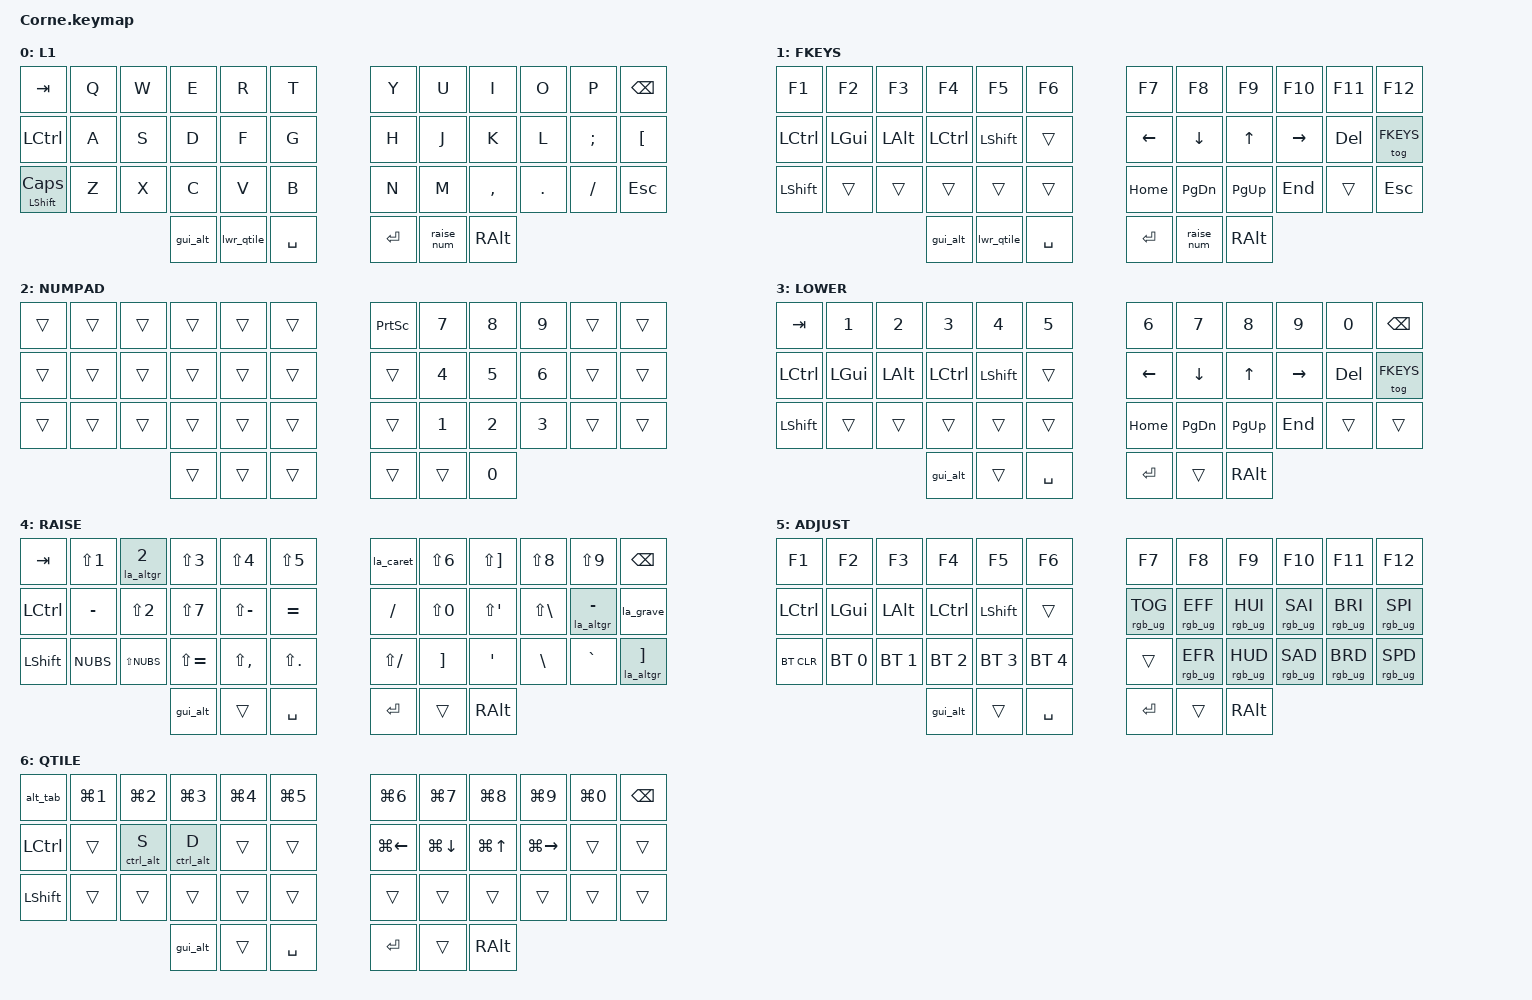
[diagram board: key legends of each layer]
/*
 * Copyright (c) 2020 The ZMK Contributors
 *
 * SPDX-License-Identifier: MIT
 */

#include <behaviors.dtsi>
#include <dt-bindings/zmk/keys.h>
#include <dt-bindings/zmk/bt.h>
#include <dt-bindings/zmk/rgb.h>

// Layer indices. Higher index wins when several layers are active.
#define L1     0
#define FKEYS  1
#define NUMPAD 2
#define LOWER  3
#define RAISE  4
#define ADJUST 5
#define QTILE  6

/ {
        conditional_layers {
                compatible = "zmk,conditional-layers";
                tri_layer {
                        if-layers = <LOWER RAISE>;
                        then-layer = <ADJUST>;
                };
        };

        behaviors {
                // Hold: Shift. Tap alone: Caps Lock.
                shift_caps: shift_caps {
                        compatible = "zmk,behavior-hold-tap";
                        #binding-cells = <2>;
                        flavor = "hold-preferred";
                        tapping-term-ms = <200>;
                        bindings = <&kp>, <&kp>;
                };
                // Left thumb LWR: hold = LOWER layer, tap then hold = QTILE layer.
                lwr_qtile: lwr_qtile {
                        compatible = "zmk,behavior-tap-dance";
                        #binding-cells = <0>;
                        tapping-term-ms = <200>;
                        bindings = <&mo LOWER>, <&mo QTILE>;
                };
                // Tap-dance on left thumb GUI: 1x hold/tap = LGUI, 2x hold/tap = LALT.
                gui_alt: gui_alt {
                        compatible = "zmk,behavior-tap-dance";
                        #binding-cells = <0>;
                        tapping-term-ms = <350>;
                        bindings = <&kp LGUI>, <&kp LALT>;
                };
                // Right thumb RSE: hold = RAISE layer, 2x tap = toggle NUMPAD layer.
                raise_num: raise_num {
                        compatible = "zmk,behavior-tap-dance";
                        #binding-cells = <0>;
                        tapping-term-ms = <200>;
                        bindings = <&mo RAISE>, <&tog NUMPAD>;
                };
        };

        // Latam has no plain ^ or ` key, only dead keys: tap them followed by space.
        macros {
                la_caret: la_caret {
                        compatible = "zmk,behavior-macro";
                        #binding-cells = <0>;
                        wait-ms = <20>;
                        tap-ms = <20>;
                        bindings
                                = <&macro_press &kp RALT>
                                , <&macro_tap &kp SQT>
                                , <&macro_release &kp RALT>
                                , <&macro_tap &kp SPACE>
                                ;
                };
                la_grave: la_grave {
                        compatible = "zmk,behavior-macro";
                        #binding-cells = <0>;
                        wait-ms = <20>;
                        tap-ms = <20>;
                        bindings
                                = <&macro_press &kp RALT>
                                , <&macro_tap &kp BSLH>
                                , <&macro_release &kp RALT>
                                , <&macro_tap &kp SPACE>
                                ;
                };
                // Holds RALT (AltGr) first, taps the key, then releases RALT so latam AltGr symbols (@, \, ~) never drop the modifier.
                la_altgr: la_altgr {
                        compatible = "zmk,behavior-macro-one-param";
                        #binding-cells = <1>;
                        wait-ms = <20>;
                        tap-ms = <20>;
                        bindings
                                = <&macro_press &kp RALT>
                                , <&macro_param_1to1>
                                , <&macro_tap &kp MACRO_PLACEHOLDER>
                                , <&macro_release &kp RALT>
                                ;
                };
                alt_tab: alt_tab {
                        compatible = "zmk,behavior-macro";
                        #binding-cells = <0>;
                        wait-ms = <0>;
                        tap-ms = <30>;
                        bindings
                                = <&macro_press &kp LALT>
                                , <&macro_tap &kp TAB>
                                , <&macro_pause_for_release>
                                , <&macro_release &kp LALT>
                                ;
                };
                // Holds LCTRL + LALT first, taps the given key, then releases LCTRL + LALT so VS Code / X11 always register both modifiers.
                ctrl_alt: ctrl_alt {
                        compatible = "zmk,behavior-macro-one-param";
                        #binding-cells = <1>;
                        wait-ms = <30>;
                        tap-ms = <30>;
                        bindings
                                = <&macro_press &kp LCTRL &kp LALT>
                                , <&macro_param_1to1>
                                , <&macro_tap &kp MACRO_PLACEHOLDER>
                                , <&macro_release &kp LCTRL &kp LALT>
                                ;
                };
        };

        keymap {
                compatible = "zmk,keymap";

                l1_layer {
// L1: Latin American base layout. Expects the OS keyboard layout set to latam.
// ACUT is the dead acute accent (tap it, then the vowel).
// -----------------------------------------------------------------------------------------
// |  TAB |  Q  |  W  |  E  |  R  |  T  |   |  Y  |  U   |  I  |  O  |  P  | BKSP |
// | CTRL |  A  |  S  |  D  |  F  |  G  |   |  H  |  J   |  K  |  L  |  N~ | ACUT |
// | SFCP |  Z  |  X  |  C  |  V  |  B  |   |  N  |  M   |  ,  |  .  |  -  | ESC  |
//                    | GUI | LWR | SPC |   | ENT | RSE  | ALT |
// SFCP: hold = Shift, tap = Caps Lock. LWR: hold = LOWER, tap+hold = QTILE. RSE: hold = RAISE, 2x tap = NUMPAD.
                        bindings = <
   &kp TAB   &kp Q &kp W &kp E &kp R &kp T   &kp Y &kp U  &kp I     &kp O   &kp P    &kp BSPC
   &kp LCTRL &kp A &kp S &kp D &kp F &kp G   &kp H &kp J  &kp K     &kp L   &kp SEMI &kp LBKT
   &shift_caps LSHFT CAPS &kp Z &kp X &kp C &kp V &kp B   &kp N &kp M  &kp COMMA &kp DOT &kp FSLH &kp ESC
                  &gui_alt &lwr_qtile &kp SPACE   &kp RET &raise_num &kp RALT
                        >;
                display-name = "L1";
                };

                fkeys_layer {
// Function keys layer (replaces old US layer). Toggled with Lower + ACUT (FN).
// -----------------------------------------------------------------------------------------
// |  F1  |  F2 |  F3 |  F4 |  F5 |  F6 |   |  F7 |  F8 |  F9 | F10 | F11 | F12  |
// | CTRL | GUI | ALT | CTRL| SHFT|     |   | LFT | DWN |  UP | RGT | DEL |  FN  |
// | SHFT |     |     |     |     |     |   | HOME| PGDN| PGUP| END |     | ESC  |
//                    | GUI | LWR | SPC |   | ENT | RSE | ALT |
                        bindings = <
   &kp F1    &kp F2   &kp F3   &kp F4    &kp F5    &kp F6      &kp F7   &kp F8    &kp F9    &kp F10   &kp F11 &kp F12
   &kp LCTRL &kp LGUI &kp LALT &kp LCTRL &kp LSHFT &trans      &kp LEFT &kp DOWN  &kp UP    &kp RIGHT &kp DEL &tog FKEYS
   &kp LSHFT &trans   &trans   &trans    &trans    &trans      &kp HOME &kp PG_DN &kp PG_UP &kp END   &trans  &kp ESC
                               &gui_alt  &lwr_qtile &kp SPACE   &kp RET  &raise_num &kp RALT
                        >;
                display-name = "FKEYS";
                };

                numpad_layer {
// Num pad toggled with a double tap on RSE (double tap again to leave). Digits sit in the numpad
// arrangement starting at the U column; 0 is on the right thumb ALT key. Everything else falls through to L1.
// -----------------------------------------------------------------------------------------
// |      |     |     |     |     |     |   | PRTSC|  7  |  8  |  9  |     |      |
// |      |     |     |     |     |     |   |     |  4  |  5  |  6  |     |      |
// |      |     |     |     |     |     |   |     |  1  |  2  |  3  |     |      |
//                    |     |     |     |   |     |     |  0  |
                        bindings = <
   &trans &trans &trans &trans &trans &trans   &kp PSCRN &kp N7 &kp N8 &kp N9 &trans &trans
   &trans &trans &trans &trans &trans &trans   &trans &kp N4 &kp N5 &kp N6 &trans &trans
   &trans &trans &trans &trans &trans &trans   &trans &kp N1 &kp N2 &kp N3 &trans &trans
                         &trans &trans &trans   &trans &trans &kp N0
                        >;
                display-name = "NUMPAD";
                };

                lower_layer {
// Numbers and navigation. FN toggles FKEYS layer.
// Active while LWR is held.
// -----------------------------------------------------------------------------------------
// |  TAB |  1  |  2  |  3  |  4  |  5  |   |  6  |  7   |  8   |  9  |  0  | BKSP |
// | CTRL | GUI | ALT | CTRL| SHFT|     |   | LFT | DWN  |  UP  | RGT | DEL |  FN  |
// | SHFT |     |     |     |     |     |   | HOME| PGDN | PGUP | END |     |      |
//                    | GUI | QTL | SPC |   | ENT |      | ALT  |
                        bindings = <
   &kp TAB   &kp N1   &kp N2   &kp N3    &kp N4    &kp N5      &kp N6   &kp N7    &kp N8    &kp N9    &kp N0  &kp BSPC
   &kp LCTRL &kp LGUI &kp LALT &kp LCTRL &kp LSHFT &trans      &kp LEFT &kp DOWN  &kp UP    &kp RIGHT &kp DEL &tog FKEYS
   &kp LSHFT &trans   &trans   &trans    &trans    &trans      &kp HOME &kp PG_DN &kp PG_UP &kp END   &trans  &trans
                               &gui_alt  &trans &kp SPACE   &kp RET  &trans    &kp RALT
                        >;
                display-name = "LOWER";
                };

                raise_layer {
// Symbols encoded for the latam OS layout.
// -----------------------------------------------------------------------------------------
// |  TAB |  !  |  @  |  #  |  $  |  %  |   |  ^  |  &  |  *  |  (  |  )  | BKSP |
// | CTRL |  '  |  "  |  /  |  ?  | INVQ|   |  -  |  =  |  [  |  ]  |  \  |  `   |
// | SHFT |  <  |  >  | INVE|  ;  |  :  |   |  _  |  +  |  {  |  }  | "|" |  ~   |
//                    | GUI |     | SPC |   | ENT |     | ALT |
// INVQ = inverted question mark, INVE = inverted exclamation mark.
                        bindings = <
   &kp TAB   &kp LS(N1) &la_altgr N2  &kp LS(N3)     &kp LS(N4)     &kp LS(N5)      &la_caret     &kp LS(N6) &kp LS(RBKT) &kp LS(N8)   &kp LS(N9)      &kp BSPC
   &kp LCTRL &kp MINUS  &kp LS(N2)    &kp LS(N7)     &kp LS(MINUS)  &kp EQUAL       &kp FSLH      &kp LS(N0) &kp LS(SQT)  &kp LS(BSLH) &la_altgr MINUS &la_grave
   &kp LSHFT &kp NUBS   &kp LS(NUBS)  &kp LS(EQUAL)  &kp LS(COMMA)  &kp LS(DOT)     &kp LS(FSLH)  &kp RBKT   &kp SQT      &kp BSLH     &kp GRAVE       &la_altgr RBKT
                                      &gui_alt       &trans         &kp SPACE       &kp RET       &trans     &kp RALT
                        >;
                display-name = "RAISE";
                };

                adjust_layer {
// Active when holding both LOWER and RAISE (via conditional_layers).
// -----------------------------------------------------------------------------------------
// |  F1  |  F2 |  F3 |  F4 |  F5 |  F6 |   |  F7 |  F8 |  F9 | F10 | F11 | F12  |
// | CTRL | GUI | ALT | CTRL| SHFT|     |   | RGB | EFF | HUI | SAI | BRI | SPI  |
// | BTCLR| BT1 | BT2 | BT3 | BT4 | BT5 |   |     | EFR | HUD | SAD | BRD | SPD  |
//                    | GUI |     | SPC |   | ENT |     | ALT |
                        bindings = <
   &kp F1     &kp F2       &kp F3       &kp F4       &kp F5       &kp F6         &kp F7          &kp F8          &kp F9          &kp F10         &kp F11         &kp F12
   &kp LCTRL  &kp LGUI     &kp LALT     &kp LCTRL    &kp LSHFT    &trans         &rgb_ug RGB_TOG &rgb_ug RGB_EFF &rgb_ug RGB_HUI &rgb_ug RGB_SAI &rgb_ug RGB_BRI &rgb_ug RGB_SPI
   &bt BT_CLR &bt BT_SEL 0 &bt BT_SEL 1 &bt BT_SEL 2 &bt BT_SEL 3 &bt BT_SEL 4   &trans          &rgb_ug RGB_EFR &rgb_ug RGB_HUD &rgb_ug RGB_SAD &rgb_ug RGB_BRD &rgb_ug RGB_SPD
                                        &gui_alt     &trans       &kp SPACE      &kp RET         &trans          &kp RALT
                        >;
                display-name = "ADJUST";
                };

                qtile_layer {
// Activated via tap-then-hold on LWR. Sends GUI+number for Qtile groups.
// Hold SHFT on the left pinky while tapping a group to move the focused window (GUI+Shift+N).
// -----------------------------------------------------------------------------------------
// | ATAB | WS1 | WS2  | WS3  | WS4 | WS5 |   | WS6 | WS7  | WS8  | WS9  | WS0 | BKSP |
// | CTRL |     | C+A+S| C+A+D|     |     |   | GLFT| GDWN | GUP  | GRGT |     |      |
// | SHFT |     |      |      |     |     |   |     |      |      |      |     |      |
//                    | GUI |     | SPC |   | ENT |      | ALT  |
                        bindings = <
   &alt_tab  &kp LG(N1) &kp LG(N2)  &kp LG(N3)  &kp LG(N4) &kp LG(N5)   &kp LG(N6)   &kp LG(N7)   &kp LG(N8) &kp LG(N9)    &kp LG(N0) &kp BSPC
   &kp LCTRL &trans     &ctrl_alt S &ctrl_alt D &trans     &trans       &kp LG(LEFT) &kp LG(DOWN) &kp LG(UP) &kp LG(RIGHT) &trans     &trans
   &kp LSHFT &trans     &trans      &trans      &trans     &trans       &trans       &trans       &trans     &trans        &trans     &trans
                                    &gui_alt    &trans     &kp SPACE    &kp RET      &trans       &kp RALT
                        >;
                display-name = "QTILE";
                };

        extra2 { status = "reserved"; };

        extra3 { status = "reserved"; };

        extra4 { status = "reserved"; };

        extra5 { status = "reserved"; };
        };
};
